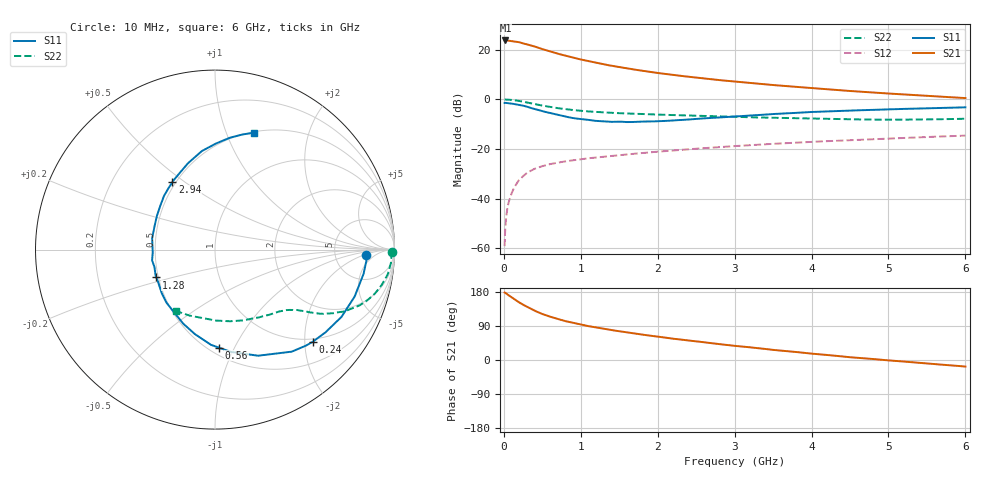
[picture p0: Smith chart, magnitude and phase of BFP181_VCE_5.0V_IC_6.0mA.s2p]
! Infineon Technologies  Discrete & RF Semiconductors
! BFP181
! VCE = 5.0 V,  IC =  6.0 mA
! Common Emitter S-Parameters:  Jan 2016
# GHz  S  MA  R  50
!  f  S11  S21  S12  S22
! GHz  MAG  ANG  MAG  ANG  MAG  ANG  MAG  ANG
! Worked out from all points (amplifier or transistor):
!   210 points, 10 MHz to 6 GHz, reference 50 ohm
!   highest |S21| = 23.7 dB at 20 MHz (marker M1)
!   |S21| within 3 dB of that: start of sweep to 453.9 MHz
!   unconditionally stable (mu >= 1): 1.608 GHz to end of sweep
!   at 185 MHz: K = 0.19, MSG = 28.1 dB, |S12| = -33.1 dB
!   at 1.52 GHz: K = 0.97, MSG = 17.7 dB, |S12| = -22.5 dB
!   at 6 GHz: K = 1.04, MAG = 6.3 dB, |S12| = -14.6 dB
!   S11 on the Smith chart (normalised r, x): 10 MHz: 11, -2; 240 MHz: 0.93, -2.18; 560 MHz: 0.56, -0.87; 1.28 GHz: 0.49, -0.17; 2.94 GHz: 0.48, +0.45; 6 GHz: 0.51, +1.26
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0.01  0.8411 -2.1  15.24 178.1  0.0011 77.2  0.9888 -0.7
0.02  0.8467 -3.8  15.28 177.2  0.0027 95.3  0.9837 -1.6
0.05  0.8386 -9.3  15.25 172.5  0.0069 87.3  0.9834 -4.2
0.15  0.7983 -28.0  14.51 158.5  0.0184 75.1  0.95 -11.9
0.2  0.7688 -36.9  14.09 151.9  0.0238 70.5  0.9239 -15.4
0.24  0.7481 -43.4  13.46 147.1  0.0273 67.4  0.8996 -17.9
0.3  0.7111 -53.1  12.79 140.5  0.0328 63.4  0.8634 -21.1
0.4  0.6381 -67.9  11.55 129.8  0.0398 58.0  0.8011 -25.4
0.5  0.5769 -81.1  10.25 121.4  0.0449 53.0  0.7457 -28.4
0.56  0.5468 -87.7  9.638 117.4  0.0476 51.2  0.7189 -29.7
0.7  0.4843 -103.3  8.273 108.2  0.0528 48.1  0.6626 -32.4
0.8  0.4488 -113.3  7.581 102.6  0.0562 46.4  0.6326 -33.5
1.02  0.3965 -134.0  6.225 92.8  0.0622 44.1  0.5821 -35.7
1.28  0.362 -154.6  5.112 83.0  0.0691 42.5  0.5464 -38.0
1.62  0.3473 -178.7  4.141 72.1  0.0779 41.4  0.5152 -41.1
2.02  0.3617 158.4  3.35 61.1  0.0885 40.2  0.4898 -45.6
2.4  0.3909 141.2  2.841 51.5  0.0986 38.7  0.4708 -50.7
2.94  0.4441 122.4  2.321 38.8  0.1123 36.0  0.4446 -58.7
3.1  0.4596 117.7  2.202 35.5  0.1164 35.1  0.4374 -61.3
4.1  0.5605 95.9  1.636 15.1  0.141 28.7  0.4042 -80.3
5.1  0.6336 81.3  1.277 -2.5  0.1634 22.4  0.3879 -102.1
6  0.6878 71.4  1.057 -17.3  0.1853 16.2  0.405 -122.2
